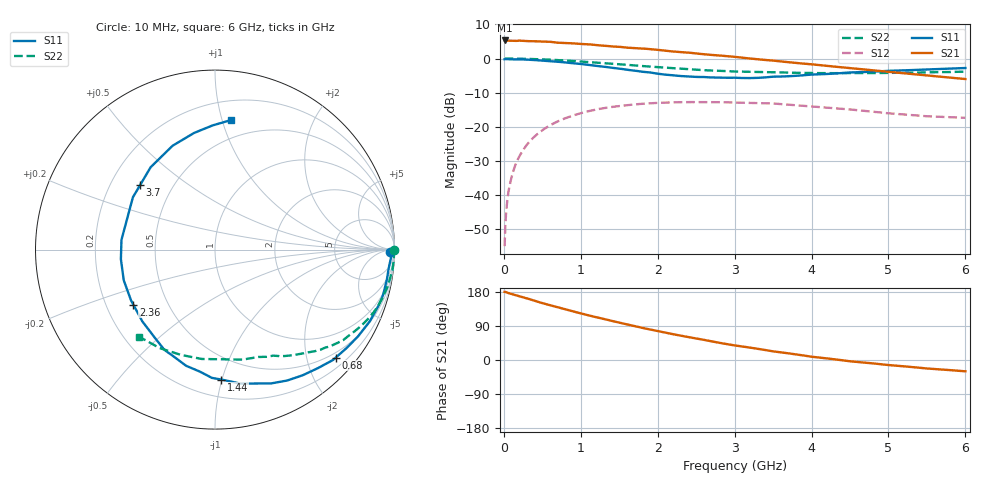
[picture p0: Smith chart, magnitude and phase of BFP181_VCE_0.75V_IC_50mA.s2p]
! Infineon Technologies  Discrete & RF Semiconductors
! BFP181
! VCE = 0.75V,  IC =  50 mA
! Common Emitter S-Parameters:  Jan 2016
# GHz  S  MA  R  50
!  f  S11  S21  S12  S22
! GHz  MAG  ANG  MAG  ANG  MAG  ANG  MAG  ANG
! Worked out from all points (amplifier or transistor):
!   210 points, 10 MHz to 6 GHz, reference 50 ohm
!   highest |S21| = 5.3 dB at 10 MHz (marker M1)
!   |S21| within 3 dB of that: start of sweep to 2.099 GHz
!   unconditionally stable (mu >= 1): 3.529 GHz to end of sweep
!   at 185 MHz: K = 0.07, MSG = 17.3 dB, |S12| = -29.4 dB
!   at 1.52 GHz: K = 0.51, MSG = 8.6 dB, |S12| = -13.9 dB
!   at 6 GHz: K = 1.61, MAG = 1.1 dB, |S12| = -17.3 dB
!   S11 on the Smith chart (normalised r, x): 10 MHz: 62, -36; 680 MHz: 0.40, -2.57; 1.44 GHz: 0.33, -0.99; 2.36 GHz: 0.32, -0.28; 3.7 GHz: 0.33, +0.33; 6 GHz: 0.35, +1.07
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0.01  0.9764 -0.8  1.837 179.8  0.0018 89.2  0.9997 -0.2
0.02  0.9833 -1.2  1.82 179.6  0.0037 89.3  0.992 -0.6
0.025  0.9829 -1.5  1.821 179.2  0.0046 89.5  0.9929 -0.8
0.05  0.9811 -2.9  1.829 177.2  0.0094 90.0  0.9977 -1.6
0.09  0.9742 -5.6  1.817 174.8  0.0165 85.5  0.9977 -2.9
0.155  0.9722 -9.7  1.806 170.9  0.0287 82.4  0.9956 -5.0
0.24  0.9697 -15.1  1.815 165.6  0.0439 79.2  0.9919 -7.7
0.36  0.9544 -22.4  1.793 158.7  0.0654 73.8  0.9839 -11.4
0.5  0.932 -31.3  1.77 150.1  0.0892 67.6  0.9723 -15.8
0.68  0.9025 -41.8  1.713 140.2  0.1173 60.0  0.9517 -21.2
1.02  0.8274 -62.3  1.629 122.0  0.1606 46.3  0.9009 -30.4
1.1  0.8083 -67.3  1.617 117.7  0.1698 43.3  0.8874 -32.5
1.44  0.7247 -87.3  1.495 101.5  0.198 31.3  0.8318 -40.6
1.8  0.6405 -110.4  1.402 84.7  0.2176 21.1  0.7759 -47.4
2.02  0.5951 -124.2  1.331 75.5  0.2251 15.1  0.746 -51.4
2.36  0.5488 -146.0  1.228 62.0  0.2304 6.1  0.7032 -57.6
2.8  0.527 -174.2  1.109 45.4  0.2301 -3.1  0.6625 -64.4
3.1  0.5185 168.7  1.028 35.7  0.2252 -9.2  0.642 -69.4
3.7  0.5506 139.4  0.883 17.6  0.2115 -18.3  0.6221 -79.9
4.1  0.5872 124.7  0.801 6.5  0.1956 -23.6  0.6116 -88.2
5.1  0.6652 98.3  0.623 -14.9  0.155 -29.8  0.6173 -110.4
6  0.7264 83.1  0.501 -29.9  0.1357 -24.2  0.6434 -131.0
